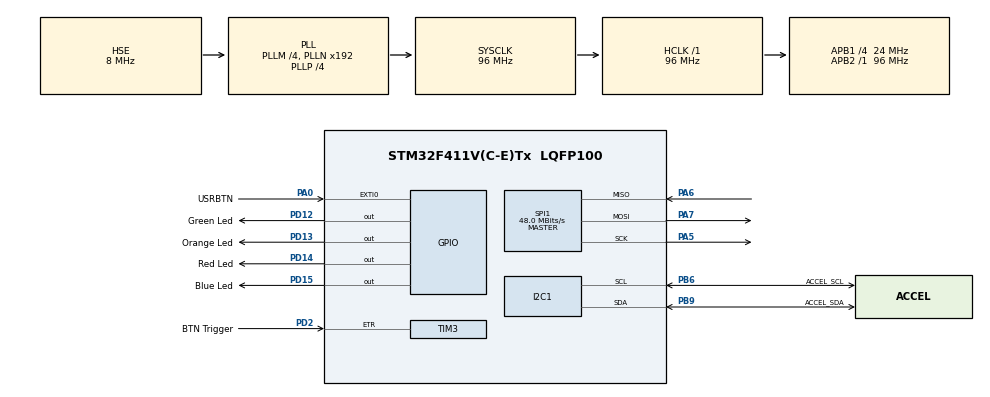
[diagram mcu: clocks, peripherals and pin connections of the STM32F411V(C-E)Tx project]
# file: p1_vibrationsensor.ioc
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Mcu.Family=STM32F4
Mcu.Name=STM32F411V(C-E)Tx
Mcu.Package=LQFP100
NVIC.EXTI0_IRQn=true\:0\:0\:false\:false\:true\:true\:true\:true
NVIC.PriorityGroup=NVIC_PRIORITYGROUP_0
NVIC.TIM1_UP_TIM10_IRQn=true\:0\:0\:false\:false\:true\:true\:true\:true
NVIC.TIM3_IRQn=true\:0\:0\:false\:false\:true\:true\:true\:true
NVIC.TIM4_IRQn=true\:0\:0\:false\:false\:true\:true\:true\:true
PA0-WKUP.GPIO_Label=USRBTN
PA0-WKUP.Signal=GPXTI0
PA13.Mode=Serial_Wire
PA13.Signal=SYS_JTMS-SWDIO
PA14.Mode=Serial_Wire
PA14.Signal=SYS_JTCK-SWCLK
PA5.Mode=Full_Duplex_Master
PA5.Signal=SPI1_SCK
PA6.Mode=Full_Duplex_Master
PA6.Signal=SPI1_MISO
PA7.Mode=Full_Duplex_Master
PA7.Signal=SPI1_MOSI
PB6.GPIO_Label=ACCEL_SCL
PB6.Mode=I2C
PB6.Signal=I2C1_SCL
PB9.GPIO_Label=ACCEL_SDA
PB9.Mode=I2C
PB9.Signal=I2C1_SDA
PD12.GPIO_Label=Green Led
PD12.Signal=GPIO_Output
PD13.GPIO_Label=Orange Led
PD13.Signal=GPIO_Output
PD14.GPIO_Label=Red Led
PD14.Signal=GPIO_Output
PD15.GPIO_Label=Blue Led
PD15.Signal=GPIO_Output
PD2.GPIO_Label=BTN Trigger
PD2.Signal=S_TIM3_ETR
PH0\ -\ OSC_IN.Mode=HSE-External-Oscillator
PH0\ -\ OSC_IN.Signal=RCC_OSC_IN
PH1\ -\ OSC_OUT.Mode=HSE-External-Oscillator
PH1\ -\ OSC_OUT.Signal=RCC_OSC_OUT
ProjectManager.HeapSize=0x200
ProjectManager.StackSize=0x400
ProjectManager.TargetToolchain=STM32CubeIDE
RCC.48MHZClocksFreq_Value=48000000
RCC.AHBFreq_Value=96000000
RCC.APB1CLKDivider=RCC_HCLK_DIV4
RCC.APB1Freq_Value=24000000
RCC.APB1TimFreq_Value=48000000
RCC.APB2Freq_Value=96000000
RCC.APB2TimFreq_Value=96000000
RCC.CortexFreq_Value=96000000
RCC.HCLKFreq_Value=96000000
RCC.HSE_VALUE=8000000
RCC.HSI_VALUE=16000000
RCC.LSE_VALUE=32768
RCC.PLLI2SM=5
RCC.PLLI2SN=200
RCC.PLLM=4
RCC.PLLP=RCC_PLLP_DIV4
RCC.PLLQ=8
RCC.PLLSourceVirtual=RCC_PLLSOURCE_HSE
RCC.SYSCLKFreq_VALUE=96000000
RCC.SYSCLKSource=RCC_SYSCLKSOURCE_PLLCLK
RCC.VCOOutputFreq_Value=384000000
SH.S_TIM3_ETR.0=TIM3_ETR,TriggerSource_ETR
SPI1.CalculateBaudRate=48.0 MBits/s
SPI1.Direction=SPI_DIRECTION_2LINES
SPI1.Mode=SPI_MODE_MASTER
SPI1.VirtualType=VM_MASTER
TIM10.Period=999
TIM10.Prescaler=4799
TIM3.Period=9999
TIM3.Prescaler=4799
TIM4.Period=9999
TIM4.Prescaler=4799
VP_TIM10_VS_ClockSourceINT.Mode=Enable_Timer
VP_TIM3_VS_ClockSourceINT.Mode=Internal
VP_TIM3_VS_ControllerModeReset.Mode=Reset Mode
VP_TIM4_VS_ClockSourceINT.Mode=Internal
board=STM32F411E-DISCO

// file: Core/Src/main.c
/* USER CODE BEGIN Header */
/**
  ******************************************************************************
  * @file           : main.c
  * @brief          : Main program body
  ******************************************************************************
  * @attention
  *
  * Copyright (c) 2024 STMicroelectronics.
  * All rights reserved.
  *
  * This software is licensed under terms that can be found in the LICENSE file
  * in the root directory of this software component.
  * If no LICENSE file comes with this software, it is provided AS-IS.
  *
  ******************************************************************************
  */
/* USER CODE END Header */
#include "main.h"

/* USER CODE BEGIN Includes */
#include "fsm.h"
#include "stm32f411e_discovery_accelerometer.h"
/* USER CODE END Includes */

/* USER CODE BEGIN PD */
#define threshold_x 10000
#define threshold_y 10000
#define threshold_z 25000

/* USER CODE END PD */

I2C_HandleTypeDef hi2c1;

SPI_HandleTypeDef hspi1;

TIM_HandleTypeDef htim3;
TIM_HandleTypeDef htim4;
TIM_HandleTypeDef htim10;

/* USER CODE BEGIN PV */
int blueledflag = 0;

int activoflag = 0;
int available = 1;

int tim10finished = 0;

enum estados_led{
	LED_ENCENDIDO,
	LED_APAGADO,
};

enum estados_btn{
	INACTIVO,
	ACTIVO,
};

int Trigger_state = 0;
int Blue_Led_state = 0;
int Red_Led_state = 0;
int Green_Led_state = 0;
int Orange_Led_state = 0;
int16_t xyz[3]; //Array con tres enteros para la lectura del acelerómetro
/* USER CODE END PV */

void SystemClock_Config(void);
static void MX_GPIO_Init(void);
static void MX_TIM4_Init(void);
static void MX_TIM3_Init(void);
static void MX_TIM10_Init(void);
static void MX_I2C1_Init(void);
static void MX_SPI1_Init(void);
/* USER CODE BEGIN PFP */
int absolute(int16_t value){
	if (value >= 0) return value;
	else return -value;
}
void read_Accel(){
	tim10finished = 0;
	BSP_ACCELERO_GetXYZ(xyz);

	if (absolute(xyz[0]) > threshold_x){
		Green_Led_state = 1;
	}
	if (absolute(xyz[1]) > threshold_y){
			Orange_Led_state = 1;
	}
	if (absolute(xyz[2]) > threshold_z){
			Red_Led_state = 1;
	}

}

//Funciones de salida de transiciones btnfsm

static void func_INACTIVO (fsm_t* this){
	activoflag = 0;
	Trigger_state = 0;

	Red_Led_state = 0; //Aquí me interesa resetear los valores a 0.
	Green_Led_state = 0;
	Orange_Led_state = 0;

}

static void func_ACTIVO (fsm_t* this){
	activoflag = 1;
	Trigger_state = 0;
}

//Funciones de entrada de transiciones btnfsm
static int read_BTN(fsm_t* this){
	if (available && Trigger_state){
			available = 0;
			return 1;
	}
	else return 0;
}

/* USER CODE END PFP */

/* USER CODE BEGIN 0 */
static fsm_trans_t btnfsm[] = { //FSM que controla el cooldown del pulsador (antirrebote)
	{INACTIVO, read_BTN, ACTIVO, func_ACTIVO},
	{ACTIVO, read_BTN, INACTIVO, func_INACTIVO},
	{-1, NULL, -1, NULL},
};

void HAL_GPIO_EXTI_Callback(uint16_t GPIO_Pin)
{
  /* Prevent unused argument(s) compilation warning */
	  Trigger_state = 1;
  /* NOTE: This function Should not be modified, when the callback is needed,
           the HAL_GPIO_EXTI_Callback could be implemented in the user file
   */
}

/* USER CODE END 0 */

int main(void)
{

  /* MCU Configuration--------------------------------------------------------*/

  /* Reset of all peripherals, Initializes the Flash interface and the Systick. */
  HAL_Init();

  /* Configure the system clock */
  SystemClock_Config();

  /* Initialize all configured peripherals */
  MX_GPIO_Init();
  MX_TIM4_Init();
  MX_TIM3_Init();
  MX_TIM10_Init();
  MX_I2C1_Init();
  MX_SPI1_Init();
  /* USER CODE BEGIN 2 */
  HAL_TIM_Base_Start_IT(&htim4); //Inicializo el timer 4.
  HAL_TIM_Base_Start_IT(&htim3); //También el 3.
  HAL_TIM_Base_Start_IT(&htim10);

 // fsm_t* maquinaLED = fsm_new(ledfsm);
  fsm_t* maquinaBTN = fsm_new(btnfsm);
  BSP_ACCELERO_Init(); //Inicializo el acelerómetro
  /* USER CODE END 2 */

  /* Infinite loop */
  /* USER CODE BEGIN WHILE */
  while (1)
  {
	  fsm_fire(maquinaBTN);
    /* USER CODE END WHILE */

    /* USER CODE BEGIN 3 */
	  if (activoflag && tim10finished){
		  tim10finished = 0;
		  read_Accel();
	  }

	  HAL_GPIO_WritePin(BTN_Trigger_GPIO_Port, BTN_Trigger_Pin, Trigger_state);
	  HAL_GPIO_WritePin(Blue_Led_GPIO_Port, Blue_Led_Pin, Blue_Led_state);

	  HAL_GPIO_WritePin(Red_Led_GPIO_Port, Red_Led_Pin, Red_Led_state);
	  HAL_GPIO_WritePin(Green_Led_GPIO_Port, Green_Led_Pin, Green_Led_state);
	  HAL_GPIO_WritePin(Orange_Led_GPIO_Port, Orange_Led_Pin, Orange_Led_state);

  }
  /* USER CODE END 3 */
}

void SystemClock_Config(void)
{
  RCC_OscInitTypeDef RCC_OscInitStruct = {0};
  RCC_ClkInitTypeDef RCC_ClkInitStruct = {0};

  /** Configure the main internal regulator output voltage
  */
  __HAL_RCC_PWR_CLK_ENABLE();
  __HAL_PWR_VOLTAGESCALING_CONFIG(PWR_REGULATOR_VOLTAGE_SCALE1);

  /** Initializes the RCC Oscillators according to the specified parameters
  * in the RCC_OscInitTypeDef structure.
  */
  RCC_OscInitStruct.OscillatorType = RCC_OSCILLATORTYPE_HSE;
  RCC_OscInitStruct.HSEState = RCC_HSE_ON;
  RCC_OscInitStruct.PLL.PLLState = RCC_PLL_ON;
  RCC_OscInitStruct.PLL.PLLSource = RCC_PLLSOURCE_HSE;
  RCC_OscInitStruct.PLL.PLLM = 4;
  RCC_OscInitStruct.PLL.PLLN = 192;
  RCC_OscInitStruct.PLL.PLLP = RCC_PLLP_DIV4;
  RCC_OscInitStruct.PLL.PLLQ = 8;
  if (HAL_RCC_OscConfig(&RCC_OscInitStruct) != HAL_OK)
  {
    Error_Handler();
  }

  /** Initializes the CPU, AHB and APB buses clocks
  */
  RCC_ClkInitStruct.ClockType = RCC_CLOCKTYPE_HCLK|RCC_CLOCKTYPE_SYSCLK
                              |RCC_CLOCKTYPE_PCLK1|RCC_CLOCKTYPE_PCLK2;
  RCC_ClkInitStruct.SYSCLKSource = RCC_SYSCLKSOURCE_PLLCLK;
  RCC_ClkInitStruct.AHBCLKDivider = RCC_SYSCLK_DIV1;
  RCC_ClkInitStruct.APB1CLKDivider = RCC_HCLK_DIV4;
  RCC_ClkInitStruct.APB2CLKDivider = RCC_HCLK_DIV1;

  if (HAL_RCC_ClockConfig(&RCC_ClkInitStruct, FLASH_LATENCY_3) != HAL_OK)
  {
    Error_Handler();
  }
}

static void MX_I2C1_Init(void)
{

  hi2c1.Instance = I2C1;
  hi2c1.Init.ClockSpeed = 100000;
  hi2c1.Init.DutyCycle = I2C_DUTYCYCLE_2;
  hi2c1.Init.OwnAddress1 = 0;
  hi2c1.Init.AddressingMode = I2C_ADDRESSINGMODE_7BIT;
  hi2c1.Init.DualAddressMode = I2C_DUALADDRESS_DISABLE;
  hi2c1.Init.OwnAddress2 = 0;
  hi2c1.Init.GeneralCallMode = I2C_GENERALCALL_DISABLE;
  hi2c1.Init.NoStretchMode = I2C_NOSTRETCH_DISABLE;
  if (HAL_I2C_Init(&hi2c1) != HAL_OK)
  {
    Error_Handler();
  }

}

static void MX_SPI1_Init(void)
{

  /* SPI1 parameter configuration*/
  hspi1.Instance = SPI1;
  hspi1.Init.Mode = SPI_MODE_MASTER;
  hspi1.Init.Direction = SPI_DIRECTION_2LINES;
  hspi1.Init.DataSize = SPI_DATASIZE_8BIT;
  hspi1.Init.CLKPolarity = SPI_POLARITY_LOW;
  hspi1.Init.CLKPhase = SPI_PHASE_1EDGE;
  hspi1.Init.NSS = SPI_NSS_SOFT;
  hspi1.Init.BaudRatePrescaler = SPI_BAUDRATEPRESCALER_2;
  hspi1.Init.FirstBit = SPI_FIRSTBIT_MSB;
  hspi1.Init.TIMode = SPI_TIMODE_DISABLE;
  hspi1.Init.CRCCalculation = SPI_CRCCALCULATION_DISABLE;
  hspi1.Init.CRCPolynomial = 10;
  if (HAL_SPI_Init(&hspi1) != HAL_OK)
  {
    Error_Handler();
  }

}

static void MX_TIM3_Init(void)
{

  TIM_ClockConfigTypeDef sClockSourceConfig = {0};
  TIM_SlaveConfigTypeDef sSlaveConfig = {0};
  TIM_MasterConfigTypeDef sMasterConfig = {0};

  htim3.Instance = TIM3;
  htim3.Init.Prescaler = 4799;
  htim3.Init.CounterMode = TIM_COUNTERMODE_UP;
  htim3.Init.Period = 9999;
  htim3.Init.ClockDivision = TIM_CLOCKDIVISION_DIV1;
  htim3.Init.AutoReloadPreload = TIM_AUTORELOAD_PRELOAD_DISABLE;
  if (HAL_TIM_Base_Init(&htim3) != HAL_OK)
  {
    Error_Handler();
  }
  sClockSourceConfig.ClockSource = TIM_CLOCKSOURCE_INTERNAL;
  if (HAL_TIM_ConfigClockSource(&htim3, &sClockSourceConfig) != HAL_OK)
  {
    Error_Handler();
  }
  sSlaveConfig.SlaveMode = TIM_SLAVEMODE_RESET;
  sSlaveConfig.InputTrigger = TIM_TS_ETRF;
  sSlaveConfig.TriggerPolarity = TIM_TRIGGERPOLARITY_NONINVERTED;
  sSlaveConfig.TriggerPrescaler = TIM_TRIGGERPRESCALER_DIV1;
  sSlaveConfig.TriggerFilter = 0;
  if (HAL_TIM_SlaveConfigSynchro(&htim3, &sSlaveConfig) != HAL_OK)
  {
    Error_Handler();
  }
  sMasterConfig.MasterOutputTrigger = TIM_TRGO_RESET;
  sMasterConfig.MasterSlaveMode = TIM_MASTERSLAVEMODE_DISABLE;
  if (HAL_TIMEx_MasterConfigSynchronization(&htim3, &sMasterConfig) != HAL_OK)
  {
    Error_Handler();
  }

}

static void MX_TIM4_Init(void)
{

  TIM_ClockConfigTypeDef sClockSourceConfig = {0};
  TIM_MasterConfigTypeDef sMasterConfig = {0};

  htim4.Instance = TIM4;
  htim4.Init.Prescaler = 4799;
  htim4.Init.CounterMode = TIM_COUNTERMODE_UP;
  htim4.Init.Period = 9999;
  htim4.Init.ClockDivision = TIM_CLOCKDIVISION_DIV1;
  htim4.Init.AutoReloadPreload = TIM_AUTORELOAD_PRELOAD_DISABLE;
  if (HAL_TIM_Base_Init(&htim4) != HAL_OK)
  {
    Error_Handler();
  }
  sClockSourceConfig.ClockSource = TIM_CLOCKSOURCE_INTERNAL;
  if (HAL_TIM_ConfigClockSource(&htim4, &sClockSourceConfig) != HAL_OK)
  {
    Error_Handler();
  }
  sMasterConfig.MasterOutputTrigger = TIM_TRGO_RESET;
  sMasterConfig.MasterSlaveMode = TIM_MASTERSLAVEMODE_DISABLE;
  if (HAL_TIMEx_MasterConfigSynchronization(&htim4, &sMasterConfig) != HAL_OK)
  {
    Error_Handler();
  }

}

static void MX_TIM10_Init(void)
{

  htim10.Instance = TIM10;
  htim10.Init.Prescaler = 4799;
  htim10.Init.CounterMode = TIM_COUNTERMODE_UP;
  htim10.Init.Period = 999;
  htim10.Init.ClockDivision = TIM_CLOCKDIVISION_DIV1;
  htim10.Init.AutoReloadPreload = TIM_AUTORELOAD_PRELOAD_DISABLE;
  if (HAL_TIM_Base_Init(&htim10) != HAL_OK)
  {
    Error_Handler();
  }

}

static void MX_GPIO_Init(void)
{
  GPIO_InitTypeDef GPIO_InitStruct = {0};

  /* GPIO Ports Clock Enable */
  __HAL_RCC_GPIOH_CLK_ENABLE();
  __HAL_RCC_GPIOA_CLK_ENABLE();
  __HAL_RCC_GPIOD_CLK_ENABLE();
  __HAL_RCC_GPIOB_CLK_ENABLE();

  /*Configure GPIO pin Output Level */
  HAL_GPIO_WritePin(GPIOD, Green_Led_Pin|Orange_Led_Pin|Red_Led_Pin|Blue_Led_Pin, GPIO_PIN_RESET);

  /*Configure GPIO pin : USRBTN_Pin */
  GPIO_InitStruct.Pin = USRBTN_Pin;
  GPIO_InitStruct.Mode = GPIO_MODE_IT_RISING;
  GPIO_InitStruct.Pull = GPIO_NOPULL;
  HAL_GPIO_Init(USRBTN_GPIO_Port, &GPIO_InitStruct);

  /*Configure GPIO pins : Green_Led_Pin Orange_Led_Pin Red_Led_Pin Blue_Led_Pin */
  GPIO_InitStruct.Pin = Green_Led_Pin|Orange_Led_Pin|Red_Led_Pin|Blue_Led_Pin;
  GPIO_InitStruct.Mode = GPIO_MODE_OUTPUT_PP;
  GPIO_InitStruct.Pull = GPIO_NOPULL;
  GPIO_InitStruct.Speed = GPIO_SPEED_FREQ_LOW;
  HAL_GPIO_Init(GPIOD, &GPIO_InitStruct);

  /* EXTI interrupt init*/
  HAL_NVIC_SetPriority(EXTI0_IRQn, 0, 0);
  HAL_NVIC_EnableIRQ(EXTI0_IRQn);

}

/* USER CODE BEGIN 4 */
int _write(int file, char *ptr, int len)
{
  (void)file;
  int DataIdx;

  for (DataIdx = 0; DataIdx < len; DataIdx++)
  {
    ITM_SendChar(*ptr++);
  }
  return len;
}
/* USER CODE END 4 */

void Error_Handler(void)
{
  __disable_irq();
  while (1)
  {
  }
}
